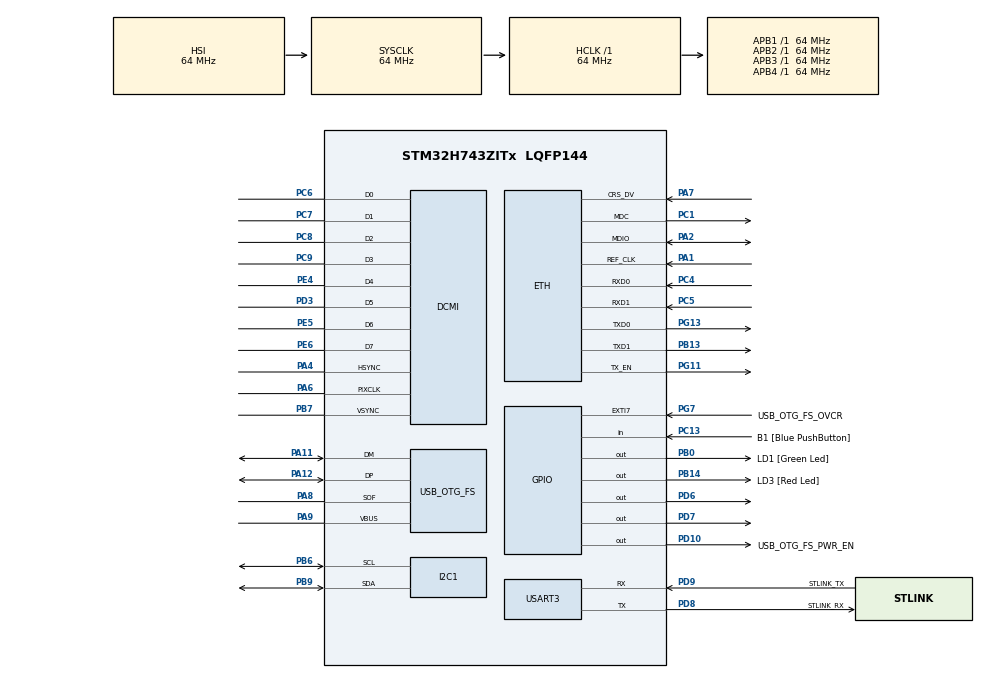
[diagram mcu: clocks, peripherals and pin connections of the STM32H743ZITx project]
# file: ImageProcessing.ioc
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DCMI.JPEGMode=DCMI_JPEG_DISABLE
DCMI.PCKPolarity=DCMI_PCKPOLARITY_RISING
Dma.DCMI.0.Direction=DMA_PERIPH_TO_MEMORY
Dma.DCMI.0.EventEnable=DISABLE
Dma.DCMI.0.FIFOMode=DMA_FIFOMODE_ENABLE
Dma.DCMI.0.FIFOThreshold=DMA_FIFO_THRESHOLD_FULL
Dma.DCMI.0.Instance=DMA1_Stream0
Dma.DCMI.0.MemBurst=DMA_MBURST_SINGLE
Dma.DCMI.0.MemDataAlignment=DMA_MDATAALIGN_WORD
Dma.DCMI.0.MemInc=DMA_MINC_ENABLE
Dma.DCMI.0.Mode=DMA_NORMAL
Dma.DCMI.0.PeriphBurst=DMA_PBURST_SINGLE
Dma.DCMI.0.PeriphDataAlignment=DMA_PDATAALIGN_WORD
Dma.DCMI.0.PeriphInc=DMA_PINC_DISABLE
Dma.DCMI.0.Polarity=HAL_DMAMUX_REQ_GEN_RISING
Dma.DCMI.0.Priority=DMA_PRIORITY_LOW
Dma.DCMI.0.RequestNumber=1
Dma.DCMI.0.SignalID=NONE
Dma.DCMI.0.SyncEnable=ENABLE
Dma.DCMI.0.SyncPolarity=HAL_DMAMUX_SYNC_RISING
Dma.DCMI.0.SyncRequestNumber=1
Dma.DCMI.0.SyncSignalID=HAL_DMAMUX1_SYNC_LPTIM1_OUT
Dma.Request0=DCMI
ETH.MediaInterface=HAL_ETH_RMII_MODE
Mcu.Family=STM32H7
Mcu.Name=STM32H743ZITx
Mcu.Package=LQFP144
NVIC.DMA1_Stream0_IRQn=true\:0\:0\:false\:false\:true\:false\:true\:true
NVIC.DMAMUX1_OVR_IRQn=true\:0\:0\:false\:false\:true\:false\:true\:true
NVIC.PriorityGroup=NVIC_PRIORITYGROUP_4
PA1.Mode=RMII
PA1.Signal=ETH_REF_CLK
PA11.Mode=Device_Only
PA11.Signal=USB_OTG_FS_DM
PA12.Mode=Device_Only
PA12.Signal=USB_OTG_FS_DP
PA2.Mode=RMII
PA2.Signal=ETH_MDIO
PA4.Mode=Slave_8_bits_External_Synchro
PA4.Signal=DCMI_HSYNC
PA6.Mode=Slave_8_bits_External_Synchro
PA6.Signal=DCMI_PIXCLK
PA7.Mode=RMII
PA7.Signal=ETH_CRS_DV
PA8.Mode=Activate_SOF_FS
PA8.Signal=USB_OTG_FS_SOF
PA9.Mode=Activate_VBUS
PA9.Signal=USB_OTG_FS_VBUS
PB0.GPIO_Label=LD1 [Green Led]
PB0.Signal=GPIO_Output
PB13.Mode=RMII
PB13.Signal=ETH_TXD1
PB14.GPIO_Label=LD3 [Red Led]
PB14.Signal=GPIO_Output
PB6.Mode=I2C
PB6.Signal=I2C1_SCL
PB7.Mode=Slave_8_bits_External_Synchro
PB7.Signal=DCMI_VSYNC
PB9.Mode=I2C
PB9.Signal=I2C1_SDA
PC1.Mode=RMII
PC1.Signal=ETH_MDC
PC13.GPIO_Label=B1 [Blue PushButton]
PC13.Signal=GPIO_Input
PC14-OSC32_IN\ (OSC32_IN).Mode=LSE-External-Oscillator
PC14-OSC32_IN\ (OSC32_IN).Signal=RCC_OSC32_IN
PC15-OSC32_OUT\ (OSC32_OUT).Mode=LSE-External-Oscillator
PC15-OSC32_OUT\ (OSC32_OUT).Signal=RCC_OSC32_OUT
PC4.Mode=RMII
PC4.Signal=ETH_RXD0
PC5.Mode=RMII
PC5.Signal=ETH_RXD1
PC6.Mode=Slave_8_bits_External_Synchro
PC6.Signal=DCMI_D0
PC7.Mode=Slave_8_bits_External_Synchro
PC7.Signal=DCMI_D1
PC8.Mode=Slave_8_bits_External_Synchro
PC8.Signal=DCMI_D2
PC9.Mode=Slave_8_bits_External_Synchro
PC9.Signal=DCMI_D3
PD10.GPIO_Label=USB_OTG_FS_PWR_EN
PD10.Signal=GPIO_Output
PD3.Mode=Slave_8_bits_External_Synchro
PD3.Signal=DCMI_D5
PD6.Signal=GPIO_Output
PD7.Signal=GPIO_Output
PD8.GPIO_Label=STLINK_RX
PD8.Mode=Asynchronous
PD8.Signal=USART3_TX
PD9.GPIO_Label=STLINK_TX
PD9.Mode=Asynchronous
PD9.Signal=USART3_RX
PE4.Mode=Slave_8_bits_External_Synchro
PE4.Signal=DCMI_D4
PE5.Mode=Slave_8_bits_External_Synchro
PE5.Signal=DCMI_D6
PE6.Mode=Slave_8_bits_External_Synchro
PE6.Signal=DCMI_D7
PG11.Mode=RMII
PG11.Signal=ETH_TX_EN
PG13.Mode=RMII
PG13.Signal=ETH_TXD0
PG7.GPIO_Label=USB_OTG_FS_OVCR
PG7.Signal=GPXTI7
PH0-OSC_IN\ (PH0).Mode=HSE-External-Clock-Source
PH0-OSC_IN\ (PH0).Signal=RCC_OSC_IN
PH1-OSC_OUT\ (PH1).Signal=RCC_OSC_OUT
ProjectManager.HeapSize=0x200
ProjectManager.StackSize=0x400
ProjectManager.TargetToolchain=Makefile
RCC.ADCFreq_Value=16125000
RCC.APB1Freq_Value=64000000
RCC.APB2Freq_Value=64000000
RCC.APB3Freq_Value=64000000
RCC.APB4Freq_Value=64000000
RCC.CortexFreq_Value=64000000
RCC.DIVM1=1
RCC.DIVN1=24
RCC.DIVQ1=4
RCC.HCLKFreq_Value=64000000
RCC.HSE_VALUE=8000000
RCC.PLLFRACN=0
RCC.PWR_Regulator_Voltage_Scale=PWR_REGULATOR_VOLTAGE_SCALE2
RCC.SYSCLKFreq_VALUE=64000000
RCC.USBFreq_Value=48000000
USART3.VirtualMode-Asynchronous=VM_ASYNC
USB_OTG_FS.VirtualMode=Device_Only
VP_LPTIM1_VS_LPTIM_counterModeInternalClock.Mode=Counts__internal_clock_event_00
board=NUCLEO-H743ZI2

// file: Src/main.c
/* USER CODE BEGIN Header */
/**
  ******************************************************************************
  * @file           : main.c
  * @brief          : Main program body
  ******************************************************************************
  * @attention
  *
  * Copyright (c) 2022 STMicroelectronics.
  * All rights reserved.
  *
  * This software is licensed under terms that can be found in the LICENSE file
  * in the root directory of this software component.
  * If no LICENSE file comes with this software, it is provided AS-IS.
  *
  ******************************************************************************
  */
/* USER CODE END Header */
#include "main.h"
#include "string.h"
#include "OV7670.h"

/* USER CODE BEGIN PD */

Camera_settings OV7670_settings={
		QQQVGA, 		//Resolution
		YUV422, 	//Format
		NORMAL, 	//Effect
		ON,			//AEC
		ON, 		//AGC
		ON, 		//AWB
		OFF,		//Color bar
		OFF,		//vertical flip
		OFF,		//Horizontal flip
		OFF,		//Night mode
		OFF,		//ASC
		ON,			//De-noise
		ON,			//Banding filter
		HISTOGRAM,	//AEC algorithm
		QUARTER_FPS,//Min. fps in night mode
		F_AUTO,		//Auto detect banding freq.
		256, 		//Exposure - 2 bytes
		4, 			//Gain	[0-7]=[1-128]
		160,		//Brightness - byte
		64, 		//Contrast - byte
		80, 		//Saturation - byte
		2,			//Sharpness	- [0-31]
		0,			//De-noise strength - byte
		x16, 		//Gain ceiling
		77, 		//R channel gain - byte
		103, 		//G channel gain - byte
		153			//B channel gain - byte
};

/* USER CODE END PD */

/* USER CODE BEGIN PM */
#define X_START	12
#define Y_START	32
#define X_MAX	80 //CIF width
#define Y_MAX	60	//CIF height
//-------------------------------------------------

/* USER CODE END PM */

#if defined ( __ICCARM__ ) /*!< IAR Compiler */
#pragma location=0x30000000
ETH_DMADescTypeDef  DMARxDscrTab[ETH_RX_DESC_CNT]; /* Ethernet Rx DMA Descriptors */
#pragma location=0x30000200
ETH_DMADescTypeDef  DMATxDscrTab[ETH_TX_DESC_CNT]; /* Ethernet Tx DMA Descriptors */

#elif defined ( __CC_ARM )  /* MDK ARM Compiler */

__attribute__((at(0x30000000))) ETH_DMADescTypeDef  DMARxDscrTab[ETH_RX_DESC_CNT]; /* Ethernet Rx DMA Descriptors */
__attribute__((at(0x30000200))) ETH_DMADescTypeDef  DMATxDscrTab[ETH_TX_DESC_CNT]; /* Ethernet Tx DMA Descriptors */

#elif defined ( __GNUC__ ) /* GNU Compiler */
ETH_DMADescTypeDef DMARxDscrTab[ETH_RX_DESC_CNT] __attribute__((section(".RxDecripSection"))); /* Ethernet Rx DMA Descriptors */
ETH_DMADescTypeDef DMATxDscrTab[ETH_TX_DESC_CNT] __attribute__((section(".TxDecripSection")));   /* Ethernet Tx DMA Descriptors */

#endif

ETH_TxPacketConfig TxConfig;

DCMI_HandleTypeDef hdcmi;

DMA_HandleTypeDef hdma_dcmi;

ETH_HandleTypeDef heth;

I2C_HandleTypeDef hi2c1;

LPTIM_HandleTypeDef hlptim1;

UART_HandleTypeDef huart3;

PCD_HandleTypeDef hpcd_USB_OTG_FS;

void SystemClock_Config(void);
static void MX_GPIO_Init(void);
static void MX_DMA_Init(void);
static void MX_USB_OTG_FS_PCD_Init(void);
static void MX_DCMI_Init(void);
static void MX_LPTIM1_Init(void);
static void MX_ETH_Init(void);
static void MX_USART3_UART_Init(void);
static void MX_I2C1_Init(void);

int main(void)
{

  /* MCU Configuration--------------------------------------------------------*/

  /* Reset of all peripherals, Initializes the Flash interface and the Systick. */
  HAL_Init();

  /* Configure the system clock */
  SystemClock_Config();

  /* Initialize all configured peripherals */
  MX_GPIO_Init();
  MX_DMA_Init();
  MX_USB_OTG_FS_PCD_Init();
  MX_DCMI_Init();
  MX_LPTIM1_Init();
  MX_ETH_Init();
  MX_USART3_UART_Init();
  MX_I2C1_Init();
  /* USER CODE BEGIN 2 */
  OV7670_Power(DISABLE);
  OV7670_Init(&hdcmi, &hdma_dcmi, &hi2c1, &hlptim1);
  /* USER CODE END 2 */

  /* Infinite loop */
  /* USER CODE BEGIN WHILE */
  //char* message = "This_don't_work!\r\n";

  uint16_t width;
  uint16_t height;
  uint8_t format;
  uint8_t image_data[X_MAX*(Y_MAX>>1)];	//Max resolution is CIF(352*288)

  uint8_t test_data[10] = {48, 49, 50, 51, 52, 53, 54, 55, 56, 57};
  //char* message = "Hello world!\r\n";
  while (1)
  {
    /* USER CODE END WHILE */
    OV7670_PowerUp();
		OV7670_UpdateSettings(OV7670_settings);
    OV7670_SetFrameRate(XCLK_DIV(1), PLL_x4);
		HAL_Delay(10);

    OV7670_Start(1, (uint32_t *)image_data);
		OV7670_getImageInfo(&width, &height, &format);

    HAL_Delay(100);

    OV7670_Stop();
	  OV7670_PowerDown();

    //HAL_UART_Transmit(&huart3, (uint8_t *)message, strlen(message), 100);
    //HAL_UART_Transmit(&huart3, image_data, strlen(image_data), 100);
    HAL_UART_Transmit(&huart3, (uint8_t*)test_data, 10, 100);
  }
}

void SystemClock_Config(void)
{
  RCC_OscInitTypeDef RCC_OscInitStruct = {0};
  RCC_ClkInitTypeDef RCC_ClkInitStruct = {0};

  /** Supply configuration update enable
  */
  HAL_PWREx_ConfigSupply(PWR_LDO_SUPPLY);

  /** Configure the main internal regulator output voltage
  */
  __HAL_PWR_VOLTAGESCALING_CONFIG(PWR_REGULATOR_VOLTAGE_SCALE2);

  while(!__HAL_PWR_GET_FLAG(PWR_FLAG_VOSRDY)) {}

  /** Initializes the RCC Oscillators according to the specified parameters
  * in the RCC_OscInitTypeDef structure.
  */
  RCC_OscInitStruct.OscillatorType = RCC_OSCILLATORTYPE_HSI|RCC_OSCILLATORTYPE_HSE;
  RCC_OscInitStruct.HSEState = RCC_HSE_BYPASS;
  RCC_OscInitStruct.HSIState = RCC_HSI_DIV1;
  RCC_OscInitStruct.HSICalibrationValue = RCC_HSICALIBRATION_DEFAULT;
  RCC_OscInitStruct.PLL.PLLState = RCC_PLL_ON;
  RCC_OscInitStruct.PLL.PLLSource = RCC_PLLSOURCE_HSE;
  RCC_OscInitStruct.PLL.PLLM = 1;
  RCC_OscInitStruct.PLL.PLLN = 24;
  RCC_OscInitStruct.PLL.PLLP = 2;
  RCC_OscInitStruct.PLL.PLLQ = 4;
  RCC_OscInitStruct.PLL.PLLR = 2;
  RCC_OscInitStruct.PLL.PLLRGE = RCC_PLL1VCIRANGE_3;
  RCC_OscInitStruct.PLL.PLLVCOSEL = RCC_PLL1VCOWIDE;
  RCC_OscInitStruct.PLL.PLLFRACN = 0;
  if (HAL_RCC_OscConfig(&RCC_OscInitStruct) != HAL_OK)
  {
    Error_Handler();
  }

  /** Initializes the CPU, AHB and APB buses clocks
  */
  RCC_ClkInitStruct.ClockType = RCC_CLOCKTYPE_HCLK|RCC_CLOCKTYPE_SYSCLK
                              |RCC_CLOCKTYPE_PCLK1|RCC_CLOCKTYPE_PCLK2
                              |RCC_CLOCKTYPE_D3PCLK1|RCC_CLOCKTYPE_D1PCLK1;
  RCC_ClkInitStruct.SYSCLKSource = RCC_SYSCLKSOURCE_HSI;
  RCC_ClkInitStruct.SYSCLKDivider = RCC_SYSCLK_DIV1;
  RCC_ClkInitStruct.AHBCLKDivider = RCC_HCLK_DIV1;
  RCC_ClkInitStruct.APB3CLKDivider = RCC_APB3_DIV1;
  RCC_ClkInitStruct.APB1CLKDivider = RCC_APB1_DIV1;
  RCC_ClkInitStruct.APB2CLKDivider = RCC_APB2_DIV1;
  RCC_ClkInitStruct.APB4CLKDivider = RCC_APB4_DIV1;

  if (HAL_RCC_ClockConfig(&RCC_ClkInitStruct, FLASH_LATENCY_1) != HAL_OK)
  {
    Error_Handler();
  }
}

static void MX_DCMI_Init(void)
{

  hdcmi.Instance = DCMI;
  hdcmi.Init.SynchroMode = DCMI_SYNCHRO_HARDWARE;
  hdcmi.Init.PCKPolarity = DCMI_PCKPOLARITY_RISING;
  hdcmi.Init.VSPolarity = DCMI_VSPOLARITY_LOW;
  hdcmi.Init.HSPolarity = DCMI_HSPOLARITY_LOW;
  hdcmi.Init.CaptureRate = DCMI_CR_ALL_FRAME;
  hdcmi.Init.ExtendedDataMode = DCMI_EXTEND_DATA_8B;
  hdcmi.Init.JPEGMode = DCMI_JPEG_DISABLE;
  hdcmi.Init.ByteSelectMode = DCMI_BSM_ALL;
  hdcmi.Init.ByteSelectStart = DCMI_OEBS_ODD;
  hdcmi.Init.LineSelectMode = DCMI_LSM_ALL;
  hdcmi.Init.LineSelectStart = DCMI_OELS_ODD;
  if (HAL_DCMI_Init(&hdcmi) != HAL_OK)
  {
    Error_Handler();
  }

}

static void MX_ETH_Init(void)
{

   static uint8_t MACAddr[6];

  heth.Instance = ETH;
  MACAddr[0] = 0x00;
  MACAddr[1] = 0x80;
  MACAddr[2] = 0xE1;
  MACAddr[3] = 0x00;
  MACAddr[4] = 0x00;
  MACAddr[5] = 0x00;
  heth.Init.MACAddr = &MACAddr[0];
  heth.Init.MediaInterface = HAL_ETH_RMII_MODE;
  heth.Init.TxDesc = DMATxDscrTab;
  heth.Init.RxDesc = DMARxDscrTab;
  heth.Init.RxBuffLen = 1524;

  if (HAL_ETH_Init(&heth) != HAL_OK)
  {
    Error_Handler();
  }

  memset(&TxConfig, 0 , sizeof(ETH_TxPacketConfig));
  TxConfig.Attributes = ETH_TX_PACKETS_FEATURES_CSUM | ETH_TX_PACKETS_FEATURES_CRCPAD;
  TxConfig.ChecksumCtrl = ETH_CHECKSUM_IPHDR_PAYLOAD_INSERT_PHDR_CALC;
  TxConfig.CRCPadCtrl = ETH_CRC_PAD_INSERT;

}

static void MX_I2C1_Init(void)
{

  hi2c1.Instance = I2C1;
  hi2c1.Init.Timing = 0x10707DBC;
  hi2c1.Init.OwnAddress1 = 0;
  hi2c1.Init.AddressingMode = I2C_ADDRESSINGMODE_7BIT;
  hi2c1.Init.DualAddressMode = I2C_DUALADDRESS_DISABLE;
  hi2c1.Init.OwnAddress2 = 0;
  hi2c1.Init.OwnAddress2Masks = I2C_OA2_NOMASK;
  hi2c1.Init.GeneralCallMode = I2C_GENERALCALL_DISABLE;
  hi2c1.Init.NoStretchMode = I2C_NOSTRETCH_DISABLE;
  if (HAL_I2C_Init(&hi2c1) != HAL_OK)
  {
    Error_Handler();
  }

  /** Configure Analogue filter
  */
  if (HAL_I2CEx_ConfigAnalogFilter(&hi2c1, I2C_ANALOGFILTER_ENABLE) != HAL_OK)
  {
    Error_Handler();
  }

  /** Configure Digital filter
  */
  if (HAL_I2CEx_ConfigDigitalFilter(&hi2c1, 0) != HAL_OK)
  {
    Error_Handler();
  }

}

static void MX_LPTIM1_Init(void)
{

  hlptim1.Instance = LPTIM1;
  hlptim1.Init.Clock.Source = LPTIM_CLOCKSOURCE_APBCLOCK_LPOSC;
  hlptim1.Init.Clock.Prescaler = LPTIM_PRESCALER_DIV1;
  hlptim1.Init.Trigger.Source = LPTIM_TRIGSOURCE_SOFTWARE;
  hlptim1.Init.OutputPolarity = LPTIM_OUTPUTPOLARITY_HIGH;
  hlptim1.Init.UpdateMode = LPTIM_UPDATE_IMMEDIATE;
  hlptim1.Init.CounterSource = LPTIM_COUNTERSOURCE_INTERNAL;
  hlptim1.Init.Input1Source = LPTIM_INPUT1SOURCE_GPIO;
  hlptim1.Init.Input2Source = LPTIM_INPUT2SOURCE_GPIO;
  if (HAL_LPTIM_Init(&hlptim1) != HAL_OK)
  {
    Error_Handler();
  }

}

static void MX_USART3_UART_Init(void)
{

  huart3.Instance = USART3;
  huart3.Init.BaudRate = 115200;
  huart3.Init.WordLength = UART_WORDLENGTH_8B;
  huart3.Init.StopBits = UART_STOPBITS_1;
  huart3.Init.Parity = UART_PARITY_NONE;
  huart3.Init.Mode = UART_MODE_TX_RX;
  huart3.Init.HwFlowCtl = UART_HWCONTROL_NONE;
  huart3.Init.OverSampling = UART_OVERSAMPLING_16;
  huart3.Init.OneBitSampling = UART_ONE_BIT_SAMPLE_DISABLE;
  huart3.Init.ClockPrescaler = UART_PRESCALER_DIV1;
  huart3.AdvancedInit.AdvFeatureInit = UART_ADVFEATURE_NO_INIT;
  if (HAL_UART_Init(&huart3) != HAL_OK)
  {
    Error_Handler();
  }
  if (HAL_UARTEx_SetTxFifoThreshold(&huart3, UART_TXFIFO_THRESHOLD_1_8) != HAL_OK)
  {
    Error_Handler();
  }
  if (HAL_UARTEx_SetRxFifoThreshold(&huart3, UART_RXFIFO_THRESHOLD_1_8) != HAL_OK)
  {
    Error_Handler();
  }
  if (HAL_UARTEx_DisableFifoMode(&huart3) != HAL_OK)
  {
    Error_Handler();
  }

}

static void MX_USB_OTG_FS_PCD_Init(void)
{

  hpcd_USB_OTG_FS.Instance = USB_OTG_FS;
  hpcd_USB_OTG_FS.Init.dev_endpoints = 9;
  hpcd_USB_OTG_FS.Init.speed = PCD_SPEED_FULL;
  hpcd_USB_OTG_FS.Init.dma_enable = DISABLE;
  hpcd_USB_OTG_FS.Init.phy_itface = PCD_PHY_EMBEDDED;
  hpcd_USB_OTG_FS.Init.Sof_enable = ENABLE;
  hpcd_USB_OTG_FS.Init.low_power_enable = DISABLE;
  hpcd_USB_OTG_FS.Init.lpm_enable = DISABLE;
  hpcd_USB_OTG_FS.Init.battery_charging_enable = ENABLE;
  hpcd_USB_OTG_FS.Init.vbus_sensing_enable = ENABLE;
  hpcd_USB_OTG_FS.Init.use_dedicated_ep1 = DISABLE;
  if (HAL_PCD_Init(&hpcd_USB_OTG_FS) != HAL_OK)
  {
    Error_Handler();
  }

}

static void MX_DMA_Init(void)
{

  /* DMA controller clock enable */
  __HAL_RCC_DMA1_CLK_ENABLE();

  /* DMA interrupt init */
  /* DMA1_Stream0_IRQn interrupt configuration */
  HAL_NVIC_SetPriority(DMA1_Stream0_IRQn, 0, 0);
  HAL_NVIC_EnableIRQ(DMA1_Stream0_IRQn);
  /* DMAMUX1_OVR_IRQn interrupt configuration */
  HAL_NVIC_SetPriority(DMAMUX1_OVR_IRQn, 0, 0);
  HAL_NVIC_EnableIRQ(DMAMUX1_OVR_IRQn);

}

static void MX_GPIO_Init(void)
{
  GPIO_InitTypeDef GPIO_InitStruct = {0};

  /* GPIO Ports Clock Enable */
  __HAL_RCC_GPIOE_CLK_ENABLE();
  __HAL_RCC_GPIOC_CLK_ENABLE();
  __HAL_RCC_GPIOH_CLK_ENABLE();
  __HAL_RCC_GPIOA_CLK_ENABLE();
  __HAL_RCC_GPIOB_CLK_ENABLE();
  __HAL_RCC_GPIOD_CLK_ENABLE();
  __HAL_RCC_GPIOG_CLK_ENABLE();

  /*Configure GPIO pin Output Level */
  HAL_GPIO_WritePin(GPIOB, LD1_Pin|LD3_Pin, GPIO_PIN_RESET);

  /*Configure GPIO pin Output Level */
  HAL_GPIO_WritePin(GPIOD, USB_OTG_FS_PWR_EN_Pin|GPIO_PIN_6|GPIO_PIN_7, GPIO_PIN_RESET);

  /*Configure GPIO pin : B1_Pin */
  GPIO_InitStruct.Pin = B1_Pin;
  GPIO_InitStruct.Mode = GPIO_MODE_INPUT;
  GPIO_InitStruct.Pull = GPIO_NOPULL;
  HAL_GPIO_Init(B1_GPIO_Port, &GPIO_InitStruct);

  /*Configure GPIO pins : LD1_Pin LD3_Pin */
  GPIO_InitStruct.Pin = LD1_Pin|LD3_Pin;
  GPIO_InitStruct.Mode = GPIO_MODE_OUTPUT_PP;
  GPIO_InitStruct.Pull = GPIO_NOPULL;
  GPIO_InitStruct.Speed = GPIO_SPEED_FREQ_LOW;
  HAL_GPIO_Init(GPIOB, &GPIO_InitStruct);

  /*Configure GPIO pins : USB_OTG_FS_PWR_EN_Pin PD6 PD7 */
  GPIO_InitStruct.Pin = USB_OTG_FS_PWR_EN_Pin|GPIO_PIN_6|GPIO_PIN_7;
  GPIO_InitStruct.Mode = GPIO_MODE_OUTPUT_PP;
  GPIO_InitStruct.Pull = GPIO_NOPULL;
  GPIO_InitStruct.Speed = GPIO_SPEED_FREQ_LOW;
  HAL_GPIO_Init(GPIOD, &GPIO_InitStruct);

  /*Configure GPIO pin : USB_OTG_FS_OVCR_Pin */
  GPIO_InitStruct.Pin = USB_OTG_FS_OVCR_Pin;
  GPIO_InitStruct.Mode = GPIO_MODE_IT_RISING;
  GPIO_InitStruct.Pull = GPIO_NOPULL;
  HAL_GPIO_Init(USB_OTG_FS_OVCR_GPIO_Port, &GPIO_InitStruct);

}

void Error_Handler(void)
{
  __disable_irq();
  while (1)
  {
  }
}
